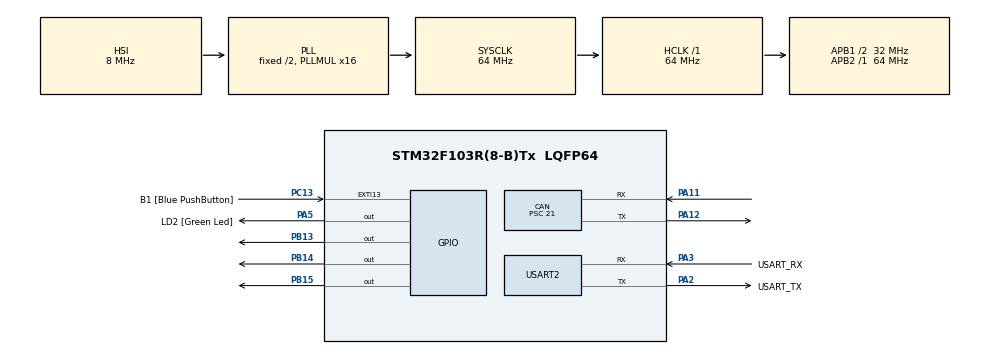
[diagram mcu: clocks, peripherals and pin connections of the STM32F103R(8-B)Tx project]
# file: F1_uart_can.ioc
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CAN.BS1=CAN_BS1_12TQ
CAN.BS2=CAN_BS2_4TQ
CAN.CalculateBaudRate=89635
CAN.CalculateTimeBit=11156.25
CAN.CalculateTimeQuantum=656.25
CAN.Prescaler=21
Mcu.Family=STM32F1
Mcu.Name=STM32F103R(8-B)Tx
Mcu.Package=LQFP64
NVIC.EXTI15_10_IRQn=true\:1\:0\:true\:false\:true\:true\:true
NVIC.PriorityGroup=NVIC_PRIORITYGROUP_4
PA11.Mode=CAN_Activate
PA11.Signal=CAN_RX
PA12.Mode=CAN_Activate
PA12.Signal=CAN_TX
PA13.GPIO_Label=TMS
PA13.Signal=SYS_JTMS-SWDIO
PA14.GPIO_Label=TCK
PA14.Signal=SYS_JTCK-SWCLK
PA2.GPIO_Label=USART_TX
PA2.GPIO_Mode=GPIO_MODE_AF_PP
PA2.GPIO_PuPd=GPIO_NOPULL
PA2.GPIO_Speed=GPIO_SPEED_FREQ_LOW
PA2.Mode=Asynchronous
PA2.Signal=USART2_TX
PA3.GPIO_Label=USART_RX
PA3.GPIO_Mode=GPIO_MODE_AF_PP
PA3.GPIO_PuPd=GPIO_NOPULL
PA3.GPIO_Speed=GPIO_SPEED_FREQ_LOW
PA3.Mode=Asynchronous
PA3.Signal=USART2_RX
PA5.GPIO_Label=LD2 [Green Led]
PA5.GPIO_ModeDefaultOutputPP=GPIO_MODE_OUTPUT_PP
PA5.GPIO_PuPd=GPIO_NOPULL
PA5.GPIO_Speed=GPIO_SPEED_FREQ_LOW
PA5.Signal=GPIO_Output
PB13.Signal=GPIO_Output
PB14.Signal=GPIO_Output
PB15.Signal=GPIO_Output
PB3.GPIO_Label=SWO
PB3.Signal=SYS_JTDO-TRACESWO
PC13-TAMPER-RTC.GPIO_Label=B1 [Blue PushButton]
PC13-TAMPER-RTC.GPIO_PuPd=GPIO_NOPULL
PC13-TAMPER-RTC.Signal=GPXTI13
PC14-OSC32_IN.Mode=LSE-External-Oscillator
PC14-OSC32_IN.Signal=RCC_OSC32_IN
PC15-OSC32_OUT.Mode=LSE-External-Oscillator
PC15-OSC32_OUT.Signal=RCC_OSC32_OUT
PD0-OSC_IN.Mode=HSE-External-Oscillator
PD0-OSC_IN.Signal=RCC_OSC_IN
PD1-OSC_OUT.Mode=HSE-External-Oscillator
PD1-OSC_OUT.Signal=RCC_OSC_OUT
ProjectManager.HeapSize=0x200
ProjectManager.StackSize=0x400
ProjectManager.TargetToolchain=STM32CubeIDE
RCC.AHBFreq_Value=64000000
RCC.APB1CLKDivider=RCC_HCLK_DIV2
RCC.APB1Freq_Value=32000000
RCC.APB1TimFreq_Value=64000000
RCC.APB2Freq_Value=64000000
RCC.APB2TimFreq_Value=64000000
RCC.HCLKFreq_Value=64000000
RCC.PLLMUL=RCC_PLL_MUL16
RCC.RTCClockSelection=RCC_RTCCLKSOURCE_LSE
RCC.SYSCLKFreq_VALUE=64000000
RCC.SYSCLKSource=RCC_SYSCLKSOURCE_PLLCLK
RCC.USBFreq_Value=64000000
USART2.VirtualMode=VM_ASYNC
VP_SYS_VS_ND.Mode=No_Debug
board=NUCLEO-F103RB

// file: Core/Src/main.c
/* USER CODE BEGIN Header */
/**
 ******************************************************************************
 * @file           : main.c
 * @brief          : Main program body
 ******************************************************************************
 * @attention
 *
 * <h2><center>&copy; Copyright (c) 2021 STMicroelectronics.
 * All rights reserved.</center></h2>
 *
 * This software component is licensed by ST under BSD 3-Clause license,
 * the "License"; You may not use this file except in compliance with the
 * License. You may obtain a copy of the License at:
 *                        opensource.org/licenses/BSD-3-Clause
 *
 ******************************************************************************
 */
/* USER CODE END Header */
#include "main.h"

/* USER CODE BEGIN Includes */
#include "packets.h"
#include "string.h"
#include "stdio.h"
/* USER CODE END Includes */

/* USER CODE BEGIN PTD */
void my_CAN_Transmit(CAN_HandleTypeDef *hcan, CAN_TxHeaderTypeDef *pHeader,
		uint8_t aData[], uint16_t dataSize, uint32_t *pTxMailbox);

/* USER CODE END PTD */

/* USER CODE BEGIN PD */
#define MY_TIMEOUT 500
#define BUFSIZE 1000
/* USER CODE END PD */

CAN_HandleTypeDef hcan;
CAN_TxHeaderTypeDef TxHeaderDASHsession, TxHeaderDASHlap, TxHeaderDASHcartelemetry, TxHeaderDASHcarstatus;
uint32_t TxMailbox;
CAN_FilterTypeDef sFilterConfig;
UART_HandleTypeDef huart2;
uint16_t myID = 0x0; // | 0xFF;
// for now using only the 3 MSB to give unique ID to our can nodes. The rest are 1 == low CAN priority

/* USER CODE BEGIN PV */
motion_packet my_motion_packet;
session_packet my_session_packet;
lap_data_packet my_lap_data_packet;
event_packet my_event_packet;
participants_packet my_participants_packet;
car_setups_packet my_car_setups_packet;
car_telemetry_packet my_car_telemetry_packet;
car_status_packet my_car_status_packet;
/* USER CODE END PV */

void SystemClock_Config(void);
static void MX_GPIO_Init(void);
static void MX_USART2_UART_Init(void);
static void MX_CAN_Init(void);

int main(void) {
	/* USER CODE BEGIN 1 */
	uint8_t Rbuffer[BUFSIZE];

	uint8_t mcuready[] = "MCU_READY\n";
	uint32_t mask;

	/* USER CODE END 1 */

	/* MCU Configuration--------------------------------------------------------*/

	/* Reset of all peripherals, Initializes the Flash interface and the Systick. */
	HAL_Init();

	/* Configure the system clock */
	SystemClock_Config();

	/* Initialize all configured peripherals */
	MX_GPIO_Init();
	MX_USART2_UART_Init();
	MX_CAN_Init();
	/* USER CODE BEGIN 2 */
	HAL_CAN_Start(&hcan);
	HAL_CAN_ActivateNotification(&hcan, CAN_IT_RX_FIFO0_MSG_PENDING); //last argument is mask of activated ITs just OR| them together

	sFilterConfig.FilterFIFOAssignment = CAN_FILTER_FIFO0;
	sFilterConfig.FilterIdHigh = 0x0;
	sFilterConfig.FilterIdLow = 0;
	sFilterConfig.FilterMaskIdHigh = 0x0;	//11 highest bits of the mask are 1
	sFilterConfig.FilterMaskIdLow = 0;
	sFilterConfig.FilterScale = CAN_FILTERSCALE_32BIT;
	sFilterConfig.FilterActivation = DISABLE;
	sFilterConfig.FilterMode = CAN_FILTERMODE_IDMASK;
	HAL_CAN_ConfigFilter(&hcan, &sFilterConfig);
	/* USER CODE END 2 */

	/* Infinite loop */
	/* USER CODE BEGIN WHILE */

	while (1) {
		// ASK FOR UPDATE DATA WITH MCU_READY
		if (HAL_UART_Transmit(&huart2, (uint8_t*) mcuready,
				(uint16_t) sizeof(mcuready),
				MY_TIMEOUT) != HAL_OK) {
			HAL_GPIO_TogglePin(GPIOB, GPIO_PIN_14); //TRANSMIT FAILED, TOGGLE PIN14 LED
		} else {
			int Biter = 0;
			HAL_UART_Receive(&huart2, Rbuffer, sizeof(Rbuffer), MY_TIMEOUT); //RECEIVE NEW DATA
			memcpy(&mask, &Rbuffer[Biter], sizeof(mask)); // first 4 bytes of the Rbuffer is a mask which indicates what type of data is sent (update available)
			Biter += sizeof(mask);
			if ((mask & 0b00000001) >> 0) { // CASE: motion_packet
				memcpy(&my_motion_packet, &Rbuffer[Biter],
						sizeof(motion_packet));
				Biter += sizeof(motion_packet);
			}
			if ((mask & 0b00000010) >> 1) { // CASE: session_packet
				memcpy(&my_session_packet, &Rbuffer[Biter],
						sizeof(session_packet));
				Biter += sizeof(session_packet);
				my_CAN_Transmit(&hcan, &TxHeaderDASHsession,
						(uint8_t *) &my_session_packet,
						sizeof(my_session_packet), &TxMailbox);
			}
			if ((mask & 0b00000100) >> 2) { // CASE: lap_data_packet
				memcpy(&my_lap_data_packet, &Rbuffer[Biter],
						sizeof(lap_data_packet));
				Biter += sizeof(lap_data_packet);
				my_CAN_Transmit(&hcan, &TxHeaderDASHlap,
						(uint8_t *) &my_lap_data_packet,
						sizeof(my_lap_data_packet), &TxMailbox);
			}
			if ((mask & 0b00001000) >> 3) { // CASE: event_packet
				memcpy(&my_session_packet, &Rbuffer[Biter],
						sizeof(event_packet));
				Biter += sizeof(event_packet);
			}
			if ((mask & 0b00010000) >> 4) { // CASE: participants_packet
				memcpy(&my_participants_packet, &Rbuffer[Biter],
						sizeof(participants_packet));
				Biter += sizeof(participants_packet);
			}
			if ((mask & 0b00100000) >> 5) { // CASE: car_setups_packet
				memcpy(&my_car_setups_packet, &Rbuffer[Biter],
						sizeof(car_setups_packet));
				Biter += sizeof(car_setups_packet);
			}
			if ((mask & 0b01000000) >> 6) { // CASE: car_telemetry_packet
				HAL_GPIO_TogglePin(GPIOB, GPIO_PIN_15); //DEBUG
				memcpy(&my_car_telemetry_packet, &Rbuffer[Biter],
						sizeof(car_telemetry_packet));
				Biter += sizeof(car_telemetry_packet);
				my_CAN_Transmit(&hcan, &TxHeaderDASHcartelemetry,
						(uint8_t *) &my_car_telemetry_packet,
						sizeof(my_car_telemetry_packet), &TxMailbox);
			}
			if ((mask & 0b10000000) >> 7) { // CASE: car_status_packet
				memcpy(&my_car_status_packet, &Rbuffer[Biter],
						sizeof(car_status_packet));
				Biter += sizeof(car_status_packet);
				my_CAN_Transmit(&hcan, &TxHeaderDASHcarstatus,
						(uint8_t *) &my_car_status_packet,
						sizeof(my_car_status_packet), &TxMailbox);
			}
		} // READY FOR NEW WORK GO TO TOP OF WHILE

//		HAL_GPIO_TogglePin(GPIOB, GPIO_PIN_13);
//		HAL_Delay(200);
	}
}
void SystemClock_Config(void) {
	RCC_OscInitTypeDef RCC_OscInitStruct = { 0 };
	RCC_ClkInitTypeDef RCC_ClkInitStruct = { 0 };

	/** Initializes the RCC Oscillators according to the specified parameters
	 * in the RCC_OscInitTypeDef structure.
	 */
	RCC_OscInitStruct.OscillatorType = RCC_OSCILLATORTYPE_HSI;
	RCC_OscInitStruct.HSIState = RCC_HSI_ON;
	RCC_OscInitStruct.HSICalibrationValue = RCC_HSICALIBRATION_DEFAULT;
	RCC_OscInitStruct.PLL.PLLState = RCC_PLL_ON;
	RCC_OscInitStruct.PLL.PLLSource = RCC_PLLSOURCE_HSI_DIV2;
	RCC_OscInitStruct.PLL.PLLMUL = RCC_PLL_MUL16;
	if (HAL_RCC_OscConfig(&RCC_OscInitStruct) != HAL_OK) {
		Error_Handler();
	}
	/** Initializes the CPU, AHB and APB buses clocks
	 */
	RCC_ClkInitStruct.ClockType = RCC_CLOCKTYPE_HCLK | RCC_CLOCKTYPE_SYSCLK
			| RCC_CLOCKTYPE_PCLK1 | RCC_CLOCKTYPE_PCLK2;
	RCC_ClkInitStruct.SYSCLKSource = RCC_SYSCLKSOURCE_PLLCLK;
	RCC_ClkInitStruct.AHBCLKDivider = RCC_SYSCLK_DIV1;
	RCC_ClkInitStruct.APB1CLKDivider = RCC_HCLK_DIV2;
	RCC_ClkInitStruct.APB2CLKDivider = RCC_HCLK_DIV1;

	if (HAL_RCC_ClockConfig(&RCC_ClkInitStruct, FLASH_LATENCY_2) != HAL_OK) {
		Error_Handler();
	}
}

static void MX_CAN_Init(void) {

	hcan.Instance = CAN1;
	hcan.Init.Prescaler = 21;
	hcan.Init.Mode = CAN_MODE_NORMAL;
	hcan.Init.SyncJumpWidth = CAN_SJW_1TQ;
	hcan.Init.TimeSeg1 = CAN_BS1_12TQ;
	hcan.Init.TimeSeg2 = CAN_BS2_4TQ;
	hcan.Init.TimeTriggeredMode = DISABLE;
	hcan.Init.AutoBusOff = DISABLE;
	hcan.Init.AutoWakeUp = DISABLE;
	hcan.Init.AutoRetransmission = DISABLE;
	hcan.Init.ReceiveFifoLocked = DISABLE;
	hcan.Init.TransmitFifoPriority = DISABLE;
	if (HAL_CAN_Init(&hcan) != HAL_OK) {
		Error_Handler();
	}
	/* USER CODE BEGIN CAN_Init 2 */
	TxHeaderDASHsession.DLC = 8;		//data length in bytes, max 8
	TxHeaderDASHsession.IDE = CAN_ID_EXT;	// specifies if standard or extended IDs are used
	TxHeaderDASHsession.StdId = sessionID<<5|DASHBOARD; // first part of MY OWN ID so this specifies the SOURCE of the message
	TxHeaderDASHsession.ExtId = 0x0; // second part, ask Wouter Burns if 11 bit can IDs are enough
	TxHeaderDASHsession.RTR = CAN_RTR_DATA; // type of data, RTR means normal bytes, can also be commands etc

	TxHeaderDASHlap.DLC = 8;
	TxHeaderDASHlap.IDE = CAN_ID_EXT;
	TxHeaderDASHlap.StdId = lapID<<5|DASHBOARD;
	TxHeaderDASHlap.ExtId = 0;
	TxHeaderDASHlap.RTR = CAN_RTR_DATA;

	TxHeaderDASHcartelemetry.DLC = 8;
	TxHeaderDASHcartelemetry.IDE = CAN_ID_EXT;
	TxHeaderDASHcartelemetry.StdId = car_telemetryID<<5|DASHBOARD;
	TxHeaderDASHcartelemetry.ExtId = 0;
	TxHeaderDASHcartelemetry.RTR = CAN_RTR_DATA;

	TxHeaderDASHcarstatus.DLC = 8;
	TxHeaderDASHcarstatus.IDE = CAN_ID_EXT;
	TxHeaderDASHcarstatus.StdId = car_statusID<<5|DASHBOARD;
	TxHeaderDASHcarstatus.ExtId = 0;
	TxHeaderDASHcarstatus.RTR = CAN_RTR_DATA;
	HAL_CAN_Start(&hcan);
	/* USER CODE END CAN_Init 2 */

}

static void MX_USART2_UART_Init(void) {

	huart2.Instance = USART2;
	huart2.Init.BaudRate = 115200;
	huart2.Init.WordLength = UART_WORDLENGTH_8B;
	huart2.Init.StopBits = UART_STOPBITS_1;
	huart2.Init.Parity = UART_PARITY_NONE;
	huart2.Init.Mode = UART_MODE_TX_RX;
	huart2.Init.HwFlowCtl = UART_HWCONTROL_NONE;
	huart2.Init.OverSampling = UART_OVERSAMPLING_16;
	if (HAL_UART_Init(&huart2) != HAL_OK) {
		Error_Handler();
	}

}

static void MX_GPIO_Init(void) {
	GPIO_InitTypeDef GPIO_InitStruct = { 0 };

	/* GPIO Ports Clock Enable */
	__HAL_RCC_GPIOC_CLK_ENABLE();
	__HAL_RCC_GPIOD_CLK_ENABLE();
	__HAL_RCC_GPIOA_CLK_ENABLE();
	__HAL_RCC_GPIOB_CLK_ENABLE();

	/*Configure GPIO pin Output Level */
	HAL_GPIO_WritePin(LD2_GPIO_Port, LD2_Pin, GPIO_PIN_RESET);

	/*Configure GPIO pin Output Level */
	HAL_GPIO_WritePin(GPIOB, GPIO_PIN_13 | GPIO_PIN_14 | GPIO_PIN_15,
			GPIO_PIN_RESET);

	/*Configure GPIO pin : B1_Pin */
	GPIO_InitStruct.Pin = B1_Pin;
	GPIO_InitStruct.Mode = GPIO_MODE_IT_RISING;
	GPIO_InitStruct.Pull = GPIO_NOPULL;
	HAL_GPIO_Init(B1_GPIO_Port, &GPIO_InitStruct);

	/*Configure GPIO pin : LD2_Pin */
	GPIO_InitStruct.Pin = LD2_Pin;
	GPIO_InitStruct.Mode = GPIO_MODE_OUTPUT_PP;
	GPIO_InitStruct.Pull = GPIO_NOPULL;
	GPIO_InitStruct.Speed = GPIO_SPEED_FREQ_LOW;
	HAL_GPIO_Init(LD2_GPIO_Port, &GPIO_InitStruct);

	/*Configure GPIO pins : PB13 PB14 PB15 */
	GPIO_InitStruct.Pin = GPIO_PIN_13 | GPIO_PIN_14 | GPIO_PIN_15;
	GPIO_InitStruct.Mode = GPIO_MODE_OUTPUT_PP;
	GPIO_InitStruct.Pull = GPIO_NOPULL;
	GPIO_InitStruct.Speed = GPIO_SPEED_FREQ_LOW;
	HAL_GPIO_Init(GPIOB, &GPIO_InitStruct);

	/* EXTI interrupt init*/
	HAL_NVIC_SetPriority(EXTI15_10_IRQn, 1, 0);
	HAL_NVIC_EnableIRQ(EXTI15_10_IRQn);

}

/* USER CODE BEGIN 4 */
/**
 * My fuction for transmitting structures of variable size over CAN
 */
void my_CAN_Transmit(CAN_HandleTypeDef *canheader, CAN_TxHeaderTypeDef *pHeader,
		uint8_t aData[], uint16_t dataSize, uint32_t *pTxMailbox) {
	if (dataSize > pHeader->DLC) {
		Error_Handler();
	}
	HAL_CAN_AddTxMessage(canheader, pHeader, aData, pTxMailbox);
}

/* USER CODE END 4 */

/**
 * @brief  This functioappn is executed in case of error occurrence.
 * @retval None
 */
void Error_Handler(void) {
	__disable_irq();
	while (1) {
	}
}

/************************ (C) COPYRIGHT STMicroelectronics *****END OF FILE****/
